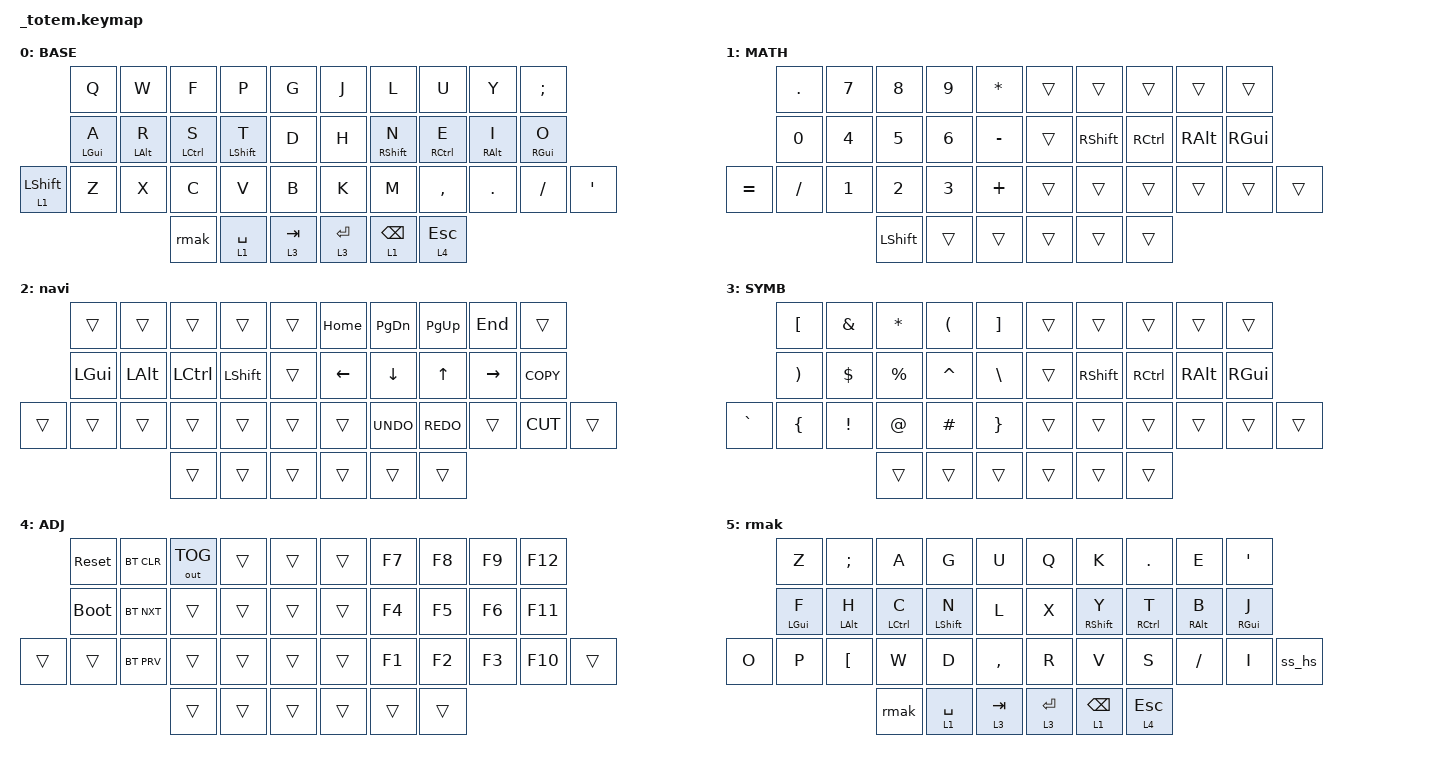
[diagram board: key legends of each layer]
//
//                                                        ▀▀▀▀▀     ▀▀▀▀▀          ▀▀█▀▀
//                                                        ▄▀▀▀▄  ▄  ▄▀▀▀▄  ▄  ▄▀▀▀▄  █  ▄▀▀▀▄
//                                                        █   █  █  █   █  █  █   █  █  █   █
//                                                         ▀▀▀   █   ▀▀▀   █   ▀▀▀   ▀   ▀▀▀
//                                                               █      ▄▄▄█▄▄▄    █   █  
//                                                               ▀      █  █  █     █▄█
//                                                             ▀▀▀▀▀    █  █  █      ▀
//                                                                      ▀  ▀  ▀
//
// ▄▄▄▄▄▄▄▄▄▄▄▄▄▄▄▄▄▄▄▄▄▄▄▄▄▄▄▄▄▄▄▄▄▄▄▄▄▄▄▄▄▄▄▄▄▄▄▄▄▄▄▄▄▄▄▄▄▄▄▄▄▄▄▄▄▄▄▄▄▄▄▄▄▄▄▄▄▄▄▄▄▄▄▄▄▄▄▄▄▄▄▄▄▄▄▄▄▄▄▄▄▄▄▄▄▄▄▄▄▄▄▄▄▄▄▄▄▄▄▄▄▄▄▄▄▄▄▄▄▄▄▄▄▄▄▄▄▄▄▄▄▄▄▄▄▄▄▄▄
       

#include <behaviors.dtsi>
#include <dt-bindings/zmk/keys.h>
#include <dt-bindings/zmk/bt.h>
#include <dt-bindings/zmk/outputs.h>

#define BASE 0
#define MATH 1
#define SYMB 2
#define ADJ  3

#include <behaviors.dtsi>
#include <dt-bindings/zmk/bt.h>
#include <dt-bindings/zmk/keys.h>
#include <dt-bindings/zmk/outputs.h>

/ {
    combos {
        compatible = "zmk,combos";

        combo_esc {
            timeout-ms = <50>;
            key-positions = <0 1>;
            bindings = <&kp ESC>;
        };
    };

    behaviors {
        ss_hs: ss_hs {
            compatible = "zmk,behavior-mod-morph";
            label = "SS_HS";
            bindings = <&kp M>, <&kp RIGHT_BRACKET>;

            #binding-cells = <0>;
            mods = <(MOD_LSFT|MOD_RSFT)>;
        };

        hrm: hrw {
            compatible = "zmk,behavior-hold-tap";
            #binding-cells = <2>;
            flavor = "tap-preferred";
            tapping-term-ms = <200>;
            quick-tap-ms = <200>;
            require-prior-idle-ms = <125>;
            bindings = <&kp>, <&kp>;
        };
    };

    macros {
        rmak: rmak {
            compatible = "zmk,behavior-macro";
            #binding-cells = <0>;
            bindings = <&tog 5 &kp LG(SPACE)>;
            label = "RMAK";
        };
    };

    keymap {
        compatible = "zmk,keymap";

        // you should do a rulemak layer for real
        // and write a macro to change system language at the same time
        //     я ж ф п г    й л ю у э
        //     а р с т д    ч н е и о         ь ъ ш щ э
        //   щ з х ц в б    к м , . ш ь/ъ
        // ▄▄▄▄▄▄▄▄▄▄▄▄▄▄▄▄▄▄▄▄▄▄▄▄▄▄▄▄▄▄▄▄▄▄▄▄▄▄▄▄▄▄▄▄▄▄▄▄▄▄▄▄▄▄▄▄▄▄▄▄▄▄▄▄▄▄▄▄▄▄▄▄▄▄▄▄▄▄▄▄▄▄▄▄▄▄▄▄▄▄▄▄▄▄▄▄▄▄▄▄▄▄▄▄▄▄▄▄▄▄▄▄▄▄▄▄▄▄▄▄▄▄▄▄▄▄▄▄▄▄▄▄▄▄▄▄▄▄▄▄▄▄▄▄▄▄▄▄▄

        base {
            // ┏━━━━━━━━━━━━━━━━━━━━━━━━━━━━━━━━━━━━━━━┓

            label = "BASE";

            // ┗━━━━━━━━━━━━━━━━━━━━━━━━━━━━━━━━━━━━━━━┛
            //             ┏━━━━━━━━━━━┳━━━━━━━━━━━┳━━━━━━━━━━━┳━━━━━━━━━━━┳━━━━━━━━━━━┓   ┏━━━━━━━━━━━┳━━━━━━━━━━━┳━━━━━━━━━━━┳━━━━━━━━━━━┳━━━━━━━━━━━┓
            //             ┃     Q     ┃     W     ┃     F     ┃     P     ┃     G     ┃   ┃     J     ┃     L     ┃     U     ┃     Y     ┃     ;     ┃
            //             ┣━━━━━━━━━━━╋━━━━━━━━━━━╋━━━━━━━━━━━╋━━━━━━━━━━━╋━━━━━━━━━━━┫   ┣━━━━━━━━━━━╋━━━━━━━━━━━╋━━━━━━━━━━━╋━━━━━━━━━━━╋━━━━━━━━━━━┫
            //             ┃     A     ┃     R     ┃     S     ┃     T     ┃     D     ┃   ┃     H     ┃     N     ┃     E     ┃     I     ┃     O     ┃
            // ┏━━━━━━━━━━━╋━━━━━━━━━━━╋━━━━━━━━━━━╋━━━━━━━━━━━╋━━━━━━━━━━━╋━━━━━━━━━━━┫   ┣━━━━━━━━━━━╋━━━━━━━━━━━╋━━━━━━━━━━━╋━━━━━━━━━━━╋━━━━━━━━━━━╋━━━━━━━━━━━┓
            // ┃  HK_HS    ┃     Z     ┃     X     ┃     C     ┃     V     ┃     B     ┃   ┃     K     ┃     M     ┃     ,     ┃     .     ┃     /     ┃     '     ┃
            // ┗━━━━━━━━━━━┻━━━━━━━━━━━┻━━━━━━━━━━━╋━━━━━━━━━━━╋━━━━━━━━━━━╋━━━━━━━━━━━┫   ┣━━━━━━━━━━━╋━━━━━━━━━━━╋━━━━━━━━━━━╋━━━━━━━━━━━┻━━━━━━━━━━━┻━━━━━━━━━━━┛
            //                                     ┃    ESC    ┃    SPC    ┃    TAB    ┃   ┃   ENTER   ┃   BSPC    ┃           ┃
            //                                     ┗━━━━━━━━━━━┻━━━━━━━━━━━┻━━━━━━━━━━━┛   ┗━━━━━━━━━━━┻━━━━━━━━━━━┻━━━━━━━━━━━┛

            bindings = <
              &kp Q        &kp W        &kp F         &kp P         &kp G        &kp J        &kp L            &kp U         &kp Y        &kp SEMI
              &hrm LGUI A  &hrm LALT R  &hrm LCTRL S  &hrm LSHFT T  &kp D        &kp H        &hrm RSHFT N     &hrm RCTRL E  &hrm RALT I  &hrm RGUI O
&lt 1 LSHIFT  &kp Z        &kp X        &kp C         &kp V         &kp B        &kp K        &kp M            &kp COMMA     &kp DOT      &kp FSLH     &kp SQT
                                        &rmak         &lt 1 SPACE   &lt 3 TAB    &lt 3 ENTER  &lt 1 BACKSPACE  &lt 4 ESCAPE
            >;
        };

        math {
            // ┏━━━━━━━━━━━━━━━━━━━━━━━━━━━━━━━━━━━━━━━┓

            label = "MATH";

            // ┗━━━━━━━━━━━━━━━━━━━━━━━━━━━━━━━━━━━━━━━┛
            //             ┏━━━━━━━━━━━┳━━━━━━━━━━━┳━━━━━━━━━━━┳━━━━━━━━━━━┳━━━━━━━━━━━┓   ┏━━━━━━━━━━━┳━━━━━━━━━━━┳━━━━━━━━━━━┳━━━━━━━━━━━┳━━━━━━━━━━━┓
            //             ┃    .      ┃    7      ┃    8      ┃    9      ┃           ┃   ┃           ┃           ┃           ┃           ┃           ┃
            //             ┣━━━━━━━━━━━╋━━━━━━━━━━━╋━━━━━━━━━━━╋━━━━━━━━━━━╋━━━━━━━━━━━┫   ┣━━━━━━━━━━━╋━━━━━━━━━━━╋━━━━━━━━━━━╋━━━━━━━━━━━╋━━━━━━━━━━━┫
            //             ┃    0      ┃    4      ┃    5      ┃    6      ┃           ┃   ┃ SHIFT     ┃   CTRL    ┃  ALT      ┃ GUI       ┃           ┃
            // ┏━━━━━━━━━━━╋━━━━━━━━━━━╋━━━━━━━━━━━╋━━━━━━━━━━━╋━━━━━━━━━━━╋━━━━━━━━━━━┫   ┣━━━━━━━━━━━╋━━━━━━━━━━━╋━━━━━━━━━━━╋━━━━━━━━━━━╋━━━━━━━━━━━╋━━━━━━━━━━━┓
            // ┃           ┃           ┃    1      ┃    2      ┃    3      ┃           ┃   ┃           ┃           ┃           ┃           ┃           ┃           ┃
            // ┗━━━━━━━━━━━┻━━━━━━━━━━━┻━━━━━━━━━━━╋━━━━━━━━━━━╋━━━━━━━━━━━╋━━━━━━━━━━━┫   ┣━━━━━━━━━━━╋━━━━━━━━━━━╋━━━━━━━━━━━╋━━━━━━━━━━━┻━━━━━━━━━━━┻━━━━━━━━━━━┛
            //                                     ┃           ┃           ┃           ┃   ┃           ┃           ┃           ┃
            //                                     ┗━━━━━━━━━━━┻━━━━━━━━━━━┻━━━━━━━━━━━┛   ┗━━━━━━━━━━━┻━━━━━━━━━━━┻━━━━━━━━━━━┛

            bindings = <
           &kp DOT    &kp N7        &kp N8          &kp N9        &kp ASTERISK    &trans  &trans           &trans     &trans         &trans
           &kp N0     &kp NUMBER_4  &kp N5          &kp N6        &kp MINUS       &trans  &kp RIGHT_SHIFT  &kp RCTRL  &kp RIGHT_ALT  &kp RIGHT_GUI
&kp EQUAL  &kp SLASH  &kp NUMBER_1  &kp NUMBER_2    &kp NUMBER_3  &kp PLUS        &trans  &trans           &trans     &trans         &trans         &trans
                                    &kp LEFT_SHIFT  &trans        &trans          &trans  &trans           &trans
            >;
        };

        navi {
            bindings = <
        &trans    &trans    &trans     &trans          &trans    &kp HOME  &kp PAGE_DOWN  &kp PG_UP   &kp END    &trans
        &kp LGUI  &kp LALT  &kp LCTRL  &kp LEFT_SHIFT  &trans    &kp LEFT  &kp DOWN       &kp UP      &kp RIGHT  &kp K_COPY
&trans  &trans    &trans    &trans     &trans          &trans    &trans    &kp K_UNDO     &kp K_REDO  &trans     &kp K_CUT   &trans
                            &trans     &trans          &trans    &trans    &trans         &trans
            >;
        };

        symb {
            // ┏━━━━━━━━━━━━━━━━━━━━━━━━━━━━━━━━━━━━━━━┓

            label = "SYMB";

            // ┗━━━━━━━━━━━━━━━━━━━━━━━━━━━━━━━━━━━━━━━┛
            //             ┏━━━━━━━━━━━┳━━━━━━━━━━━┳━━━━━━━━━━━┳━━━━━━━━━━━┳━━━━━━━━━━━┓   ┏━━━━━━━━━━━┳━━━━━━━━━━━┳━━━━━━━━━━━┳━━━━━━━━━━━┳━━━━━━━━━━━┓
            //             ┃           ┃    &      ┃    *      ┃    (      ┃           ┃   ┃           ┃           ┃           ┃           ┃           ┃
            //             ┣━━━━━━━━━━━╋━━━━━━━━━━━╋━━━━━━━━━━━╋━━━━━━━━━━━╋━━━━━━━━━━━┫   ┣━━━━━━━━━━━╋━━━━━━━━━━━╋━━━━━━━━━━━╋━━━━━━━━━━━╋━━━━━━━━━━━┫
            //             ┃     )     ┃    $      ┃    %      ┃    ^      ┃           ┃   ┃           ┃           ┃           ┃           ┃           ┃
            // ┏━━━━━━━━━━━╋━━━━━━━━━━━╋━━━━━━━━━━━╋━━━━━━━━━━━╋━━━━━━━━━━━╋━━━━━━━━━━━┫   ┣━━━━━━━━━━━╋━━━━━━━━━━━╋━━━━━━━━━━━╋━━━━━━━━━━━╋━━━━━━━━━━━╋━━━━━━━━━━━┓
            // ┃           ┃           ┃    !      ┃    @      ┃    #      ┃           ┃   ┃           ┃           ┃           ┃           ┃           ┃           ┃
            // ┗━━━━━━━━━━━┻━━━━━━━━━━━┻━━━━━━━━━━━╋━━━━━━━━━━━╋━━━━━━━━━━━╋━━━━━━━━━━━┫   ┣━━━━━━━━━━━╋━━━━━━━━━━━╋━━━━━━━━━━━╋━━━━━━━━━━━┻━━━━━━━━━━━┻━━━━━━━━━━━┛
            //                                     ┃           ┃           ┃           ┃   ┃           ┃           ┃           ┃
            //                                     ┗━━━━━━━━━━━┻━━━━━━━━━━━┻━━━━━━━━━━━┛   ┗━━━━━━━━━━━┻━━━━━━━━━━━┻━━━━━━━━━━━┛

            bindings = <
           &kp LEFT_BRACKET       &kp AMPERSAND    &kp ASTRK    &kp LPAR   &kp RIGHT_BRACKET    &trans  &trans     &trans     &trans    &trans
           &kp RIGHT_PARENTHESIS  &kp DOLLAR       &kp PERCENT  &kp CARET  &kp BACKSLASH        &trans  &kp RSHFT  &kp RCTRL  &kp RALT  &kp RGUI
&kp GRAVE  &kp LEFT_BRACE         &kp EXCLAMATION  &kp AT_SIGN  &kp HASH   &kp RIGHT_BRACE      &trans  &trans     &trans     &trans    &trans    &trans
                                                   &trans       &trans     &trans               &trans  &trans     &trans
            >;
        };

        adjust_layer {
            // ┏━━━━━━━━━━━━━━━━━━━━━━━━━━━━━━━━━━━━━━━┓

            label = "ADJ";

            // ┗━━━━━━━━━━━━━━━━━━━━━━━━━━━━━━━━━━━━━━━┛
            //             ┏━━━━━━━━━━━┳━━━━━━━━━━━┳━━━━━━━━━━━┳━━━━━━━━━━━┳━━━━━━━━━━━┓   ┏━━━━━━━━━━━┳━━━━━━━━━━━┳━━━━━━━━━━━┳━━━━━━━━━━━┳━━━━━━━━━━━┓
            //             ┃   RESET   ┃ BT CLEAR  ┃  OUT TOG  ┃           ┃           ┃   ┃           ┃    F7     ┃    F8     ┃    F9     ┃    F12    ┃
            //             ┣━━━━━━━━━━━╋━━━━━━━━━━━╋━━━━━━━━━━━╋━━━━━━━━━━━╋━━━━━━━━━━━┫   ┣━━━━━━━━━━━╋━━━━━━━━━━━╋━━━━━━━━━━━╋━━━━━━━━━━━╋━━━━━━━━━━━┫
            //             ┃ BOOTLOAD  ┃ BT NEXT   ┃           ┃           ┃           ┃   ┃           ┃    F4     ┃    F5     ┃    F6     ┃    F11    ┃
            // ┏━━━━━━━━━━━╋━━━━━━━━━━━╋━━━━━━━━━━━╋━━━━━━━━━━━╋━━━━━━━━━━━╋━━━━━━━━━━━┫   ┣━━━━━━━━━━━╋━━━━━━━━━━━╋━━━━━━━━━━━╋━━━━━━━━━━━╋━━━━━━━━━━━╋━━━━━━━━━━━┓
            // ┃           ┃           ┃ BT PREV   ┃           ┃           ┃           ┃   ┃           ┃    F1     ┃    F2     ┃    F3     ┃    F10    ┃           ┃
            // ┗━━━━━━━━━━━┻━━━━━━━━━━━┻━━━━━━━━━━━╋━━━━━━━━━━━╋━━━━━━━━━━━╋━━━━━━━━━━━┫   ┣━━━━━━━━━━━╋━━━━━━━━━━━╋━━━━━━━━━━━╋━━━━━━━━━━━┻━━━━━━━━━━━┻━━━━━━━━━━━┛
            //                                     ┃           ┃           ┃           ┃   ┃           ┃           ┃           ┃
            //                                     ┗━━━━━━━━━━━┻━━━━━━━━━━━┻━━━━━━━━━━━┛   ┗━━━━━━━━━━━┻━━━━━━━━━━━┻━━━━━━━━━━━┛

            bindings = <
        &sys_reset   &bt BT_CLR  &out OUT_TOG  &trans  &trans    &trans  &kp F7  &kp F8  &kp F9  &kp F12
        &bootloader  &bt BT_NXT  &trans        &trans  &trans    &trans  &kp F4  &kp F5  &kp F6  &kp F11
&trans  &trans       &bt BT_PRV  &trans        &trans  &trans    &trans  &kp F1  &kp F2  &kp F3  &kp F10  &trans
                                 &trans        &trans  &trans    &trans  &trans  &trans
            >;
        };

        rmak {
            bindings = <
       &kp Z        &kp SEMI     &kp A         &kp G          &kp U        &kp Q         &kp K            &kp DOT       &kp E        &kp APOS
       &hrm LGUI F  &hrm LALT H  &hrm LCTRL C  &hrm LSHIFT N  &kp L        &kp X         &hrm RSHIFT Y    &hrm RCTRL T  &hrm RALT B  &hrm RGUI J
&kp O  &kp P        &kp LBKT     &kp W         &kp D          &kp COMMA    &kp R         &kp V            &kp S         &kp SLASH    &kp I        &ss_hs
                                 &rmak         &lt 1 SPACE    &lt 3 TAB    &lt 3 RETURN  &lt 1 BACKSPACE  &lt 4 ESCAPE
            >;
        };
    };
};
